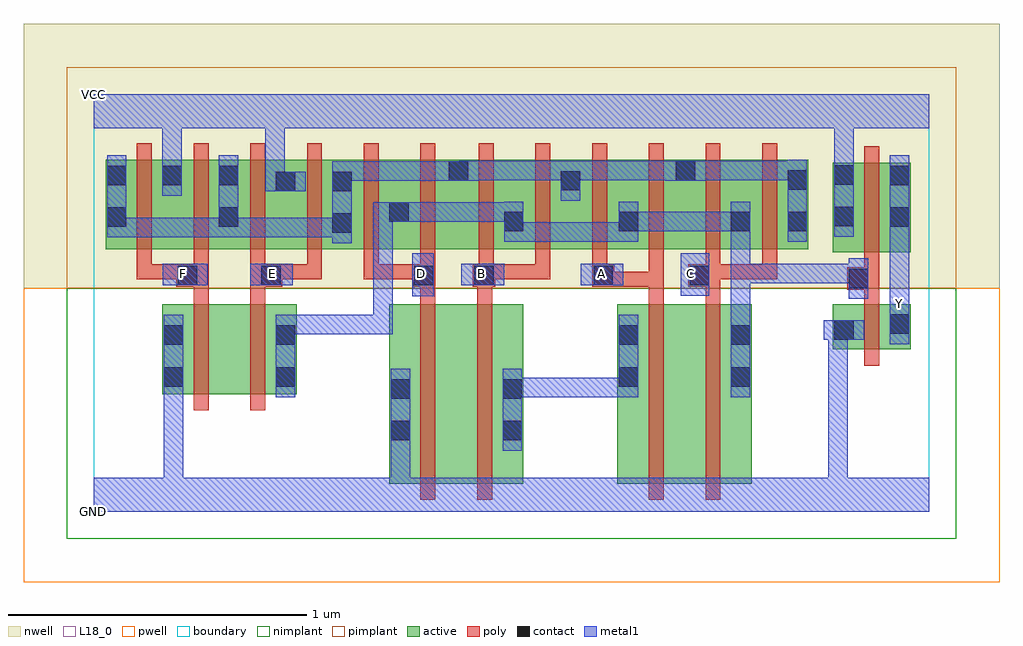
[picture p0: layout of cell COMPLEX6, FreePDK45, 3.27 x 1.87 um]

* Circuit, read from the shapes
.subckt COMPLEX6 A B C D E F GND VCC Y
M1 n1 F GND VSUBS nfet w=0.3u l=0.05u
M2 n2 E n1 VSUBS nfet w=0.3u l=0.05u
M3 n3 D GND VSUBS nfet w=0.6u l=0.05u
M4 n4 B n3 VSUBS nfet w=0.6u l=0.05u
M5 n5 A n4 VSUBS nfet w=0.6u l=0.05u
M6 n2 C n5 VSUBS nfet w=0.6u l=0.05u
M7 Y n2 GND VSUBS nfet w=0.15u l=0.05u
M8 VCC F n6 n7 pfet w=0.3u l=0.05u m=2
M9 VCC E n6 n7 pfet w=0.3u l=0.05u m=2
M10 n2 D n6 n7 pfet w=0.3u l=0.05u m=2
M11 n2 B n6 n7 pfet w=0.3u l=0.05u m=2
M12 n2 A n6 n7 pfet w=0.3u l=0.05u m=2
M13 n2 C n6 n7 pfet w=0.3u l=0.05u m=2
M14 Y n2 VCC n7 pfet w=0.3u l=0.05u
.ends

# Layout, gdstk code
import gdstk
lib = gdstk.Library(unit=1e-6, precision=1e-09)
def R(c, l, rs):  # rectangles x0, y0, x1, y1
    for r in rs: c.add(gdstk.rectangle(r[:2], r[2:], *l))
def A(c, l, x, y, w, h, nx, ny, dx, dy):  # array of equal rectangles
    R(c, l, [(x+i*dx, y+j*dy, x+i*dx+w, y+j*dy+h) for i in range(nx) for j in range(ny)])
active = (1, 0)
pwell = (2, 0)
nwell = (3, 0)
nimplant = (4, 0)
pimplant = (5, 0)
poly = (9, 0)
contact = (10, 0)
metal1 = (11, 0)
L18_0 = (18, 0)
boundary = (235, 0)

complex6 = lib.new_cell('COMPLEX6')
A(complex6, active, 0.225, 0.88, 0.265, 0.3, 4, 1, 0.19, 0)
R(complex6, active, [(0.99,0.095,1.065,0.695), (0.99,0.095,1.215,0.695), (1.215,0.095,1.44,0.695), (1.365,0.095,1.44,0.695), (1.755,0.095,1.98,0.695), (1.755,0.095,1.86,0.695), (1.98,0.095,2.205,0.695), (2.13,0.095,2.205,0.695), (0.23,0.395,0.305,0.695), (0.23,0.395,0.455,0.695), (0.455,0.395,0.68,0.695), (0.605,0.395,0.68,0.695), (2.477,0.545,2.552,0.695), (2.477,0.545,2.737,0.695), (2.662,0.545,2.737,0.695), (2.477,0.87,2.552,1.17), (2.477,0.87,2.737,1.17), (2.662,0.87,2.737,1.17), (0.04,0.88,0.3,1.18), (0.04,0.88,0.115,1.165), (0.985,0.88,1.26,1.18), (1.185,0.88,1.445,1.18), (1.37,0.88,1.635,1.18), (1.56,0.88,1.83,1.18), (1.755,0.88,2.02,1.18), (1.945,0.88,2.205,1.18), (2.13,0.88,2.395,1.18), (2.32,0.88,2.395,1.165), (0.795,0.93,0.87,1.165), (1.37,0.935,1.445,1.07), (1.755,0.935,1.83,1.07), (2.13,0.935,2.205,1.07), (0.415,0.95,0.49,1.165), (0.985,0.967,1.06,1.07), (1.185,0.995,1.26,1.18), (1.56,0.995,1.635,1.17), (1.945,0.995,2.02,1.18), (0.225,1.007,0.3,1.165), (0.605,1.007,0.68,1.145)])
R(complex6, pwell, [(-0.235,-0.235,3.035,0.75)])
R(complex6, nwell, [(-0.235,0.75,3.035,1.635)])
R(complex6, nimplant, [(-0.09,-0.09,2.89,0.75)])
R(complex6, pimplant, [(-0.09,0.75,2.89,1.49)])
A(complex6, poly, 0.145, 0.78, 0.05, 0.095, 6, 1, 0.19, 0)
A(complex6, poly, 1.29, 0.78, 0.05, 0.095, 3, 1, 0.19, 0)
A(complex6, poly, 0.145, 0.825, 0.05, 0.41, 6, 1, 0.19, 0)
A(complex6, poly, 1.29, 0.825, 0.05, 0.41, 6, 1, 0.19, 0)
R(complex6, poly, [(1.095,0.04,1.145,0.75), (1.285,0.04,1.335,0.75), (1.86,0.04,1.91,0.75), (2.05,0.04,2.1,0.75), (0.335,0.34,0.385,0.75), (0.525,0.34,0.575,0.75), (2.582,0.49,2.632,0.75), (0.335,0.7,0.385,0.805), (0.525,0.7,0.575,0.805), (1.095,0.7,1.145,0.805), (1.285,0.7,1.335,0.805), (1.86,0.7,1.91,0.805), (2.05,0.7,2.1,0.805), (2.582,0.7,2.632,0.795), (2.525,0.745,2.632,0.82), (0.277,0.755,0.385,0.83), (0.525,0.755,0.632,0.83), (1.07,0.755,1.145,0.83), (1.27,0.755,1.345,0.83), (1.67,0.755,1.745,0.83), (1.695,0.755,1.91,0.805), (1.86,0.755,1.91,0.805), (1.86,0.755,1.91,0.805), (1.86,0.755,1.91,0.805), (1.86,0.755,1.91,0.875), (1.992,0.755,2.1,0.83), (2.582,0.77,2.632,0.865), (0.145,0.78,0.195,0.83), (0.145,0.78,0.327,0.83), (0.277,0.78,0.327,0.83), (0.277,0.78,0.327,0.83), (0.582,0.78,0.632,0.83), (0.582,0.78,0.632,0.83), (0.582,0.78,0.765,0.83), (0.715,0.78,0.765,0.83), (0.905,0.78,0.955,0.83), (0.905,0.78,1.12,0.83), (1.07,0.78,1.12,0.83), (1.07,0.78,1.12,0.83), (1.295,0.78,1.53,0.83), (1.48,0.78,1.53,0.83), (1.48,0.78,1.53,0.83), (1.48,0.78,1.53,0.83), (2.05,0.78,2.1,0.875), (2.05,0.78,2.29,0.83), (2.05,0.78,2.1,0.83), (2.05,0.78,2.1,0.83), (2.24,0.78,2.29,0.875), (2.24,0.78,2.29,0.83), (2.582,0.815,2.632,1.225)])
R(complex6, contact, [(0.995,0.24,1.06,0.305), (1.37,0.24,1.435,0.305), (0.995,0.38,1.06,0.445), (1.37,0.38,1.435,0.445), (0.235,0.42,0.3,0.485), (0.61,0.42,0.675,0.485), (1.76,0.42,1.825,0.485), (2.135,0.42,2.2,0.485), (0.235,0.56,0.3,0.625), (0.61,0.56,0.675,0.625), (1.76,0.56,1.825,0.625), (2.135,0.56,2.2,0.625), (2.482,0.577,2.547,0.642), (2.667,0.597,2.732,0.662), (2.53,0.75,2.595,0.815), (0.282,0.76,0.347,0.825), (0.562,0.76,0.627,0.825), (1.075,0.76,1.14,0.825), (1.275,0.76,1.34,0.825), (1.675,0.76,1.74,0.825), (1.997,0.76,2.062,0.825), (0.8,0.935,0.865,1), (1.375,0.94,1.44,1.005), (1.76,0.94,1.825,1.005), (2.135,0.94,2.2,1.005), (2.325,0.94,2.39,1.005), (0.045,0.955,0.11,1.02), (0.42,0.955,0.485,1.02), (2.667,0.955,2.732,1.02), (2.482,0.957,2.547,1.022), (0.99,0.972,1.055,1.037), (0.61,1.075,0.675,1.14), (0.8,1.075,0.865,1.14), (1.565,1.077,1.63,1.142), (2.325,1.08,2.39,1.145), (0.045,1.095,0.11,1.16), (0.23,1.095,0.295,1.16), (0.42,1.095,0.485,1.16), (2.667,1.095,2.732,1.16), (2.482,1.097,2.547,1.162), (1.19,1.11,1.255,1.175), (1.95,1.11,2.015,1.175)])
R(complex6, metal1, [(0,0,2.8,0.115), (0.235,0.05,0.3,0.115), (0.235,0.05,0.3,0.115), (0.235,0.05,0.3,0.45), (0.995,0.05,1.06,0.27), (2.462,0.05,2.527,0.642), (0.995,0.205,1.06,0.48), (1.37,0.205,1.435,0.48), (0.235,0.385,0.3,0.66), (0.235,0.385,0.3,0.45), (0.235,0.385,0.3,0.45), (0.61,0.385,0.675,0.66), (1.37,0.385,1.435,0.45), (1.37,0.385,1.435,0.45), (1.37,0.385,1.577,0.45), (1.512,0.385,1.577,0.45), (1.512,0.385,1.577,0.45), (1.512,0.385,1.577,0.45), (1.512,0.385,1.825,0.45), (1.76,0.385,1.825,0.66), (2.135,0.385,2.2,0.66), (2.667,0.562,2.732,0.697), (2.447,0.577,2.582,0.642), (2.462,0.577,2.527,0.642), (2.462,0.577,2.527,0.642), (2.462,0.577,2.527,0.642), (2.462,0.577,2.527,0.642), (2.462,0.577,2.527,0.642), (2.462,0.577,2.527,0.642), (0.61,0.595,0.675,0.66), (0.61,0.595,0.675,0.66), (0.61,0.595,0.812,0.66), (0.747,0.595,0.812,0.66), (0.747,0.595,0.812,0.66), (0.747,0.595,0.812,0.66), (0.747,0.595,1.002,0.66), (0.937,0.595,1.002,0.66), (0.937,0.595,1.002,0.66), (0.937,0.595,1.002,0.66), (0.937,0.595,1.002,1.037), (2.135,0.595,2.2,0.832), (2.667,0.632,2.732,0.697), (2.667,0.632,2.732,0.767), (2.667,0.702,2.732,0.985), (2.53,0.715,2.595,0.85), (1.067,0.722,1.14,0.867), (1.967,0.725,2.062,0.867), (0.232,0.76,0.382,0.832), (0.525,0.76,0.667,0.832), (1.232,0.76,1.375,0.832), (1.632,0.76,1.775,0.832), (2.135,0.767,2.2,0.832), (2.135,0.767,2.337,0.832), (2.135,0.767,2.2,0.97), (2.272,0.767,2.337,0.832), (2.272,0.767,2.337,0.832), (2.272,0.767,2.337,0.832), (2.272,0.767,2.595,0.832), (2.53,0.767,2.595,0.832), (2.53,0.767,2.595,0.832), (0.8,0.9,0.865,1.175), (1.375,0.905,1.44,0.97), (1.375,0.905,1.44,0.97), (1.375,0.905,1.44,1.04), (1.375,0.905,1.577,0.97), (1.512,0.905,1.577,0.97), (1.512,0.905,1.577,0.97), (1.512,0.905,1.577,0.97), (1.512,0.905,1.825,0.97), (1.76,0.905,1.825,1.04), (2.135,0.905,2.2,1.04), (2.325,0.905,2.39,1.18), (0.045,0.92,0.11,1.195), (0.045,0.92,0.11,0.985), (0.045,0.92,0.11,0.985), (0.045,0.92,0.347,0.985), (0.282,0.92,0.347,0.985), (0.282,0.92,0.347,0.985), (0.282,0.92,0.347,0.985), (0.282,0.92,0.485,0.985), (0.42,0.92,0.485,1.195), (0.42,0.92,0.485,0.985), (0.42,0.92,0.485,0.985), (0.42,0.92,0.622,0.985), (0.557,0.92,0.622,0.985), (0.557,0.92,0.622,0.985), (0.557,0.92,0.622,0.985), (0.557,0.92,0.865,0.985), (2.667,0.92,2.732,1.195), (2.482,0.922,2.547,1.197), (1.76,0.94,1.825,1.005), (1.76,0.94,1.825,1.005), (1.76,0.94,2.062,1.005), (1.997,0.94,2.062,1.005), (1.997,0.94,2.2,1.005), (2.135,0.94,2.2,1.005), (2.135,0.94,2.2,1.005), (0.937,0.972,1.09,1.037), (1.025,0.972,1.09,1.037), (1.025,0.972,1.09,1.037), (1.025,0.972,1.297,1.037), (1.232,0.972,1.297,1.037), (1.232,0.972,1.297,1.037), (1.232,0.972,1.297,1.037), (1.232,0.972,1.44,1.037), (1.565,1.042,1.63,1.177), (0.23,1.06,0.295,1.195), (0.575,1.075,0.64,1.35), (0.575,1.075,0.71,1.14), (0.8,1.11,0.865,1.175), (0.8,1.11,0.865,1.175), (0.8,1.11,0.865,1.175), (0.8,1.11,0.865,1.175), (0.8,1.11,1.082,1.175), (1.017,1.11,1.082,1.175), (1.017,1.11,1.082,1.175), (1.017,1.11,1.082,1.175), (1.017,1.11,1.22,1.175), (1.155,1.11,1.29,1.175), (1.225,1.11,1.29,1.175), (1.225,1.11,1.29,1.177), (1.915,1.11,2.05,1.177), (1.225,1.112,1.44,1.177), (1.375,1.112,1.44,1.177), (1.375,1.112,1.44,1.177), (1.375,1.112,1.44,1.177), (1.375,1.112,1.63,1.177), (1.565,1.112,1.63,1.177), (1.565,1.112,1.63,1.177), (1.565,1.112,1.767,1.177), (1.702,1.112,1.767,1.177), (1.702,1.112,1.767,1.177), (1.702,1.112,1.767,1.177), (1.702,1.112,1.98,1.177), (1.985,1.112,2.2,1.177), (2.135,1.112,2.2,1.177), (2.135,1.112,2.2,1.177), (2.135,1.112,2.2,1.177), (2.135,1.112,2.375,1.177), (2.31,1.112,2.375,1.177), (2.31,1.112,2.39,1.177), (0.23,1.13,0.295,1.195), (0.23,1.13,0.295,1.195), (0.23,1.13,0.295,1.35), (2.482,1.132,2.547,1.197), (2.482,1.132,2.547,1.197), (2.482,1.132,2.547,1.35), (0,1.285,2.8,1.4), (0.575,1.285,0.64,1.35), (0.575,1.285,0.64,1.35)])
R(complex6, L18_0, [(0,0,2.8,0.115), (0.235,0.05,0.3,0.115), (0.235,0.05,0.3,0.115), (0.235,0.05,0.3,0.45), (0.995,0.05,1.06,0.27), (2.462,0.05,2.527,0.642), (0.995,0.205,1.06,0.48), (0.235,0.385,0.3,0.45), (0.235,0.385,0.3,0.45), (0.235,0.385,0.3,0.66), (2.667,0.562,2.732,0.697), (2.447,0.577,2.582,0.642), (2.462,0.577,2.527,0.642), (2.462,0.577,2.527,0.642), (2.462,0.577,2.527,0.642), (2.462,0.577,2.527,0.642), (2.462,0.577,2.527,0.642), (2.462,0.577,2.527,0.642), (2.667,0.632,2.732,0.697), (2.667,0.632,2.732,0.767), (2.667,0.667,2.732,0.732), (2.667,0.702,2.732,0.985), (1.067,0.722,1.14,0.867), (1.967,0.725,2.062,0.867), (0.232,0.76,0.382,0.832), (0.525,0.76,0.667,0.832), (1.232,0.76,1.375,0.832), (1.632,0.76,1.775,0.832), (0.267,0.767,0.332,0.832), (0.567,0.767,0.632,0.832), (1.067,0.767,1.132,0.832), (1.267,0.767,1.332,0.832), (1.667,0.767,1.732,0.832), (1.967,0.767,2.032,0.832), (2.667,0.92,2.732,1.195), (2.482,0.922,2.547,1.197), (0.23,1.06,0.295,1.195), (0.575,1.075,0.64,1.35), (0.575,1.075,0.71,1.14), (0.23,1.13,0.295,1.195), (0.23,1.13,0.295,1.195), (0.23,1.13,0.295,1.35), (2.482,1.132,2.547,1.197), (2.482,1.132,2.547,1.197), (2.482,1.132,2.547,1.35), (0,1.285,2.8,1.4), (0.575,1.285,0.64,1.35), (0.575,1.285,0.64,1.35)])
R(complex6, boundary, [(0,0,2.8,1.4)])
complex6.add(gdstk.Label('A', (1.7,0.8), layer=11, texttype=0))
complex6.add(gdstk.Label('B', (1.3,0.8), layer=11, texttype=0))
complex6.add(gdstk.Label('C', (2,0.8), layer=11, texttype=0))
complex6.add(gdstk.Label('D', (1.1,0.8), layer=11, texttype=0))
complex6.add(gdstk.Label('E', (0.6,0.8), layer=11, texttype=0))
complex6.add(gdstk.Label('F', (0.3,0.8), layer=11, texttype=0))
complex6.add(gdstk.Label('Y', (2.7,0.7), layer=11, texttype=0))
complex6.add(gdstk.Label('VCC', (0,1.4), layer=11, texttype=0))
complex6.add(gdstk.Label('GND', (0,0), layer=11, texttype=0))

lib.write_gds('COMPLEX6.gds')
